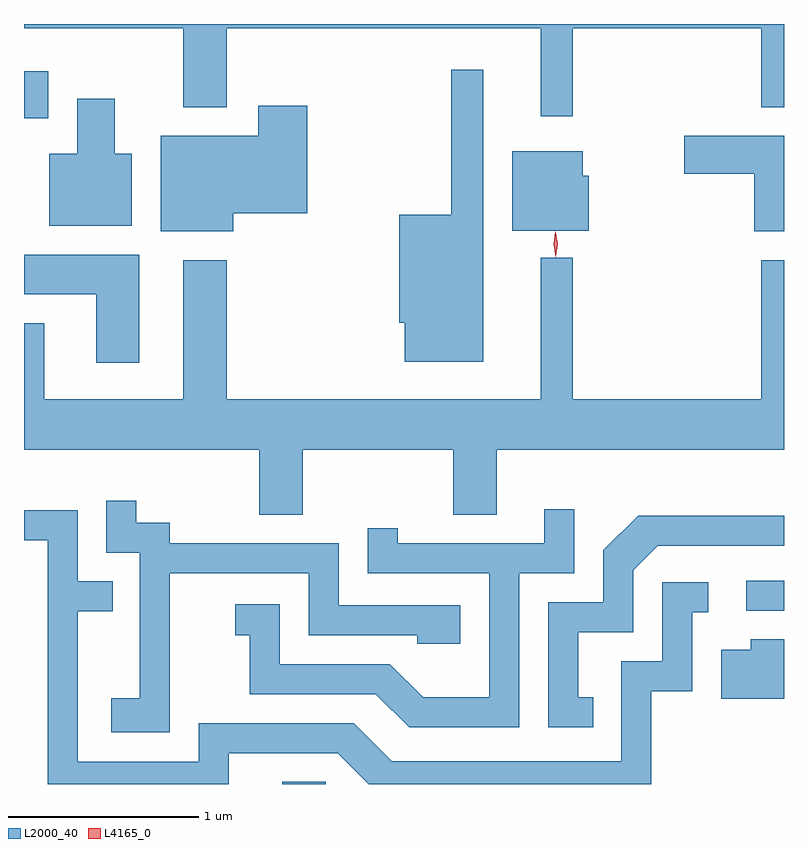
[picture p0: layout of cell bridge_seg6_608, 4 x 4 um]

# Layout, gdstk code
import gdstk
lib = gdstk.Library(unit=1e-6, precision=1e-09)
def R(c, l, rs):  # rectangles x0, y0, x1, y1
    for r in rs: c.add(gdstk.rectangle(r[:2], r[2:], *l))
def P(c, l, *ps):  # polygons
    for p in ps: c.add(gdstk.Polygon(p, *l))
L2000_40 = (2000, 40)
L4165_0 = (4165, 0)

bridge_seg6_608 = lib.new_cell('bridge_seg6_608')
R(bridge_seg6_608, L2000_40, [(249.801,1601.558,250.029,1601.569), (252.243,1602.471,252.442,1602.629), (248.442,1605.061,248.569,1605.309)])
P(bridge_seg6_608, L2000_40, [(251.329,1605.536),(252.321,1605.536),(252.321,1605.121),(252.442,1605.121),(252.442,1605.558),(248.442,1605.558),(248.442,1605.536),(249.281,1605.536),(249.281,1605.121),(249.509,1605.121),(249.509,1605.536),(251.161,1605.536),(251.161,1605.073),(251.329,1605.073)],
  [(250.859,1605.318),(250.691,1605.318),(250.691,1604.554),(250.416,1604.554),(250.416,1603.986),(250.446,1603.986),(250.446,1603.781),(250.859,1603.781)],
  [(249.009,1604.874),(248.919,1604.874),(248.919,1605.164),(248.721,1605.164),(248.721,1604.874),(248.576,1604.874),(248.576,1604.496),(249.009,1604.496)],
  [(249.544,1604.561),(249.934,1604.561),(249.934,1605.129),(249.676,1605.129),(249.676,1604.969),(249.161,1604.969),(249.161,1604.466),(249.544,1604.466)],
  [(252.442,1604.969),(251.916,1604.969),(251.916,1604.771),(252.286,1604.771),(252.286,1604.466),(252.442,1604.466)],
  [(251.414,1604.759),(251.384,1604.759),(251.384,1604.889),(251.011,1604.889),(251.011,1604.471),(251.414,1604.471)],
  [(249.049,1604.344),(248.442,1604.344),(248.442,1604.136),(248.821,1604.136),(248.821,1603.776),(249.049,1603.776)],
  [(249.909,1603.316),(250.701,1603.316),(250.701,1602.976),(250.929,1602.976),(250.929,1603.316),(252.442,1603.316),(252.442,1604.314),(252.321,1604.314),(252.321,1603.584),(251.329,1603.584),(251.329,1604.328),(251.161,1604.328),(251.161,1603.584),(249.509,1603.584),(249.509,1604.314),(249.281,1604.314),(249.281,1603.584),(248.549,1603.584),(248.549,1603.984),(248.442,1603.984),(248.442,1603.316),(249.681,1603.316),(249.681,1602.976),(249.909,1602.976)],
  [(249.209,1602.666),(249.941,1602.666),(249.941,1602.341),(250.511,1602.341),(250.511,1602.296),(250.739,1602.296),(250.739,1602.499),(250.099,1602.499),(250.099,1602.824),(249.209,1602.824),(249.209,1602.934),(249.034,1602.934),(249.034,1603.048),(248.876,1603.048),(248.876,1602.776),(249.051,1602.776),(249.051,1602.009),(248.901,1602.009),(248.901,1601.831),(249.209,1601.831)],
  [(251.049,1602.666),(251.339,1602.666),(251.339,1603.003),(251.181,1603.003),(251.181,1602.824),(250.409,1602.824),(250.409,1602.903),(250.251,1602.903),(250.251,1602.666),(250.891,1602.666),(250.891,1602.014),(250.542,1602.014),(250.367,1602.189),(249.789,1602.189),(249.789,1602.504),(249.553,1602.504),(249.553,1602.341),(249.631,1602.341),(249.631,1602.031),(250.294,1602.031),(250.469,1601.856),(251.049,1601.856)],
  [(249.519,1601.721),(250.094,1601.721),(250.257,1601.558),(251.744,1601.558),(251.744,1602.046),(251.959,1602.046),(251.959,1602.461),(252.043,1602.461),(252.043,1602.619),(251.801,1602.619),(251.801,1602.204),(251.586,1602.204),(251.586,1601.679),(250.377,1601.679),(250.177,1601.879),(249.361,1601.879),(249.361,1601.674),(248.724,1601.674),(248.724,1602.466),(248.908,1602.466),(248.908,1602.624),(248.724,1602.624),(248.724,1602.999),(248.442,1602.999),(248.442,1602.841),(248.566,1602.841),(248.566,1601.558),(249.519,1601.558)],
  [(251.438,1602.014),(251.359,1602.014),(251.359,1602.356),(251.649,1602.356),(251.649,1602.684),(251.777,1602.811),(252.442,1602.811),(252.442,1602.969),(251.674,1602.969),(251.491,1602.787),(251.491,1602.514),(251.201,1602.514),(251.201,1601.856),(251.438,1601.856)],
  [(252.442,1602.319),(252.266,1602.319),(252.266,1602.264),(252.111,1602.264),(252.111,1602.006),(252.442,1602.006)])
P(bridge_seg6_608, L4165_0, [(251.24,1604.33),(251.24,1604.331),(251.229,1604.398),(251.238,1604.465),(251.238,1604.465),(251.239,1604.465),(251.249,1604.398),(251.241,1604.331)],
  [(251.241,1604.333),(251.24,1604.334),(251.231,1604.397),(251.24,1604.461),(251.241,1604.461),(251.241,1604.461),(251.251,1604.397),(251.241,1604.334)])

lib.write_gds('bridge_seg6_608.gds')
